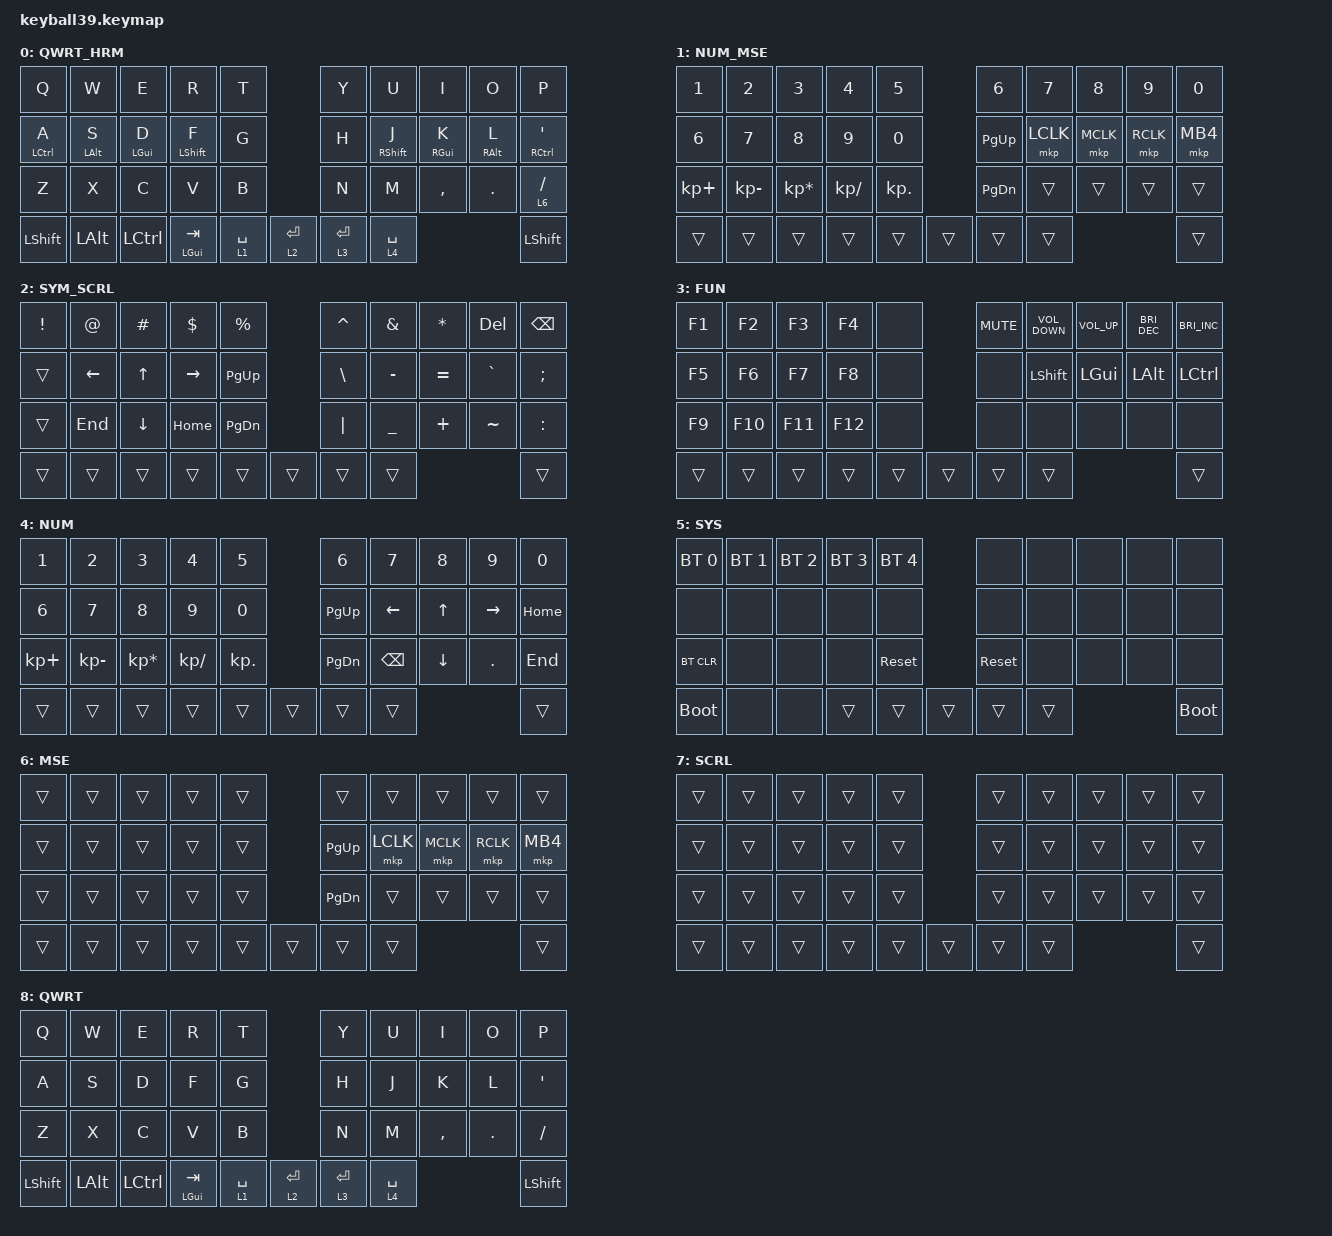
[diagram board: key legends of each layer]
#include <behaviors/mouse_keys.dtsi>
#include <dt-bindings/zmk/mouse.h>
#include <behaviors.dtsi>
#include <dt-bindings/zmk/bt.h>
#include <dt-bindings/zmk/keys.h>
#include <dt-bindings/zmk/pointing.h>

&lt {
    tapping-term-ms = <240>;
    flavor = "balanced";
    quick-tap-ms = <175>;
};

&mt {
    tapping-term-ms = <200>;
    flavor = "tap-preferred";
    quick-tap-ms = <150>;
};

&caps_word { continue-list = <UNDERSCORE MINUS>; };

/ {
    // custom shift using mod-morph 

    combos {
        compatible = "zmk,combos";

        par_l {
            bindings = <&kp LEFT_PARENTHESIS>;
            key-positions = <13 14>;
            layers = <0>;
        };

        par_r {
            bindings = <&kp RIGHT_PARENTHESIS>;
            key-positions = <15 16>;
            layers = <0>;
        };

        bkt_l {
            bindings = <&kp LEFT_BRACKET>;
            key-positions = <3 4>;
            layers = <0>;
        };

        bkt_r {
            bindings = <&kp RIGHT_BRACKET>;
            key-positions = <5 6>;
            layers = <0>;
        };

        brc_l {
            bindings = <&kp LEFT_BRACE>;
            key-positions = <23 24>;
            layers = <0>;
        };

        brc_r {
            bindings = <&kp RIGHT_BRACE>;
            key-positions = <26 25>;
            layers = <0>;
        };

        esc {
            bindings = <&kp ESC>;
            key-positions = <0 1>;
            layers = <0 1 2 3 4 6 7>;
        };

        del_l {
            bindings = <&kp DELETE>;
            key-positions = <20 21>;
            layers = <0 1 2 4 6 7>;
        };

        del_r {
            bindings = <&kp DELETE>;
            key-positions = <29 28>;
            layers = <0 1 2 4 6 7>;
        };

        toggle-hrm {
            bindings = <&tog 8>;
            key-positions = <33 34 35>;
        };
    };

    behaviors {
        hml: homerow_mods_left {
            compatible = "zmk,behavior-hold-tap";
            label = "homerow_mods_left";
            bindings = <&kp>, <&kp>;

            #binding-cells = <2>;
            tapping-term-ms = <280>;
            hold-trigger-on-release;
            quick-tap-ms = <175>;
            require-prior-idle-ms = <150>;
            flavor = "balanced";
            hold-trigger-key-positions = <14 24 23 22 21 20 0 1 2 3 4 5 6 7 8 9 15 16 17 18 19 25 26 27 28 29>;
        };

        hmr: homerow_mods_right {
            compatible = "zmk,behavior-hold-tap";
            label = "homerow_mods_right";
            bindings = <&kp>, <&kp>;

            #binding-cells = <2>;
            tapping-term-ms = <280>;
            flavor = "balanced";
            hold-trigger-on-release;
            quick-tap-ms = <175>;
            require-prior-idle-ms = <150>;
            hold-trigger-key-positions = <15 5 6 7 8 9 29 28 27 26 25 0 1 2 3 4 10 11 12 13 14 20 21 22 23 24>;
        };
    };

    keymap {
        compatible = "zmk,keymap";

        qwrt_hrm {
            label = "QWRT_HRM";
            bindings = <
&kp Q                &kp W            &kp E             &kp R              &kp T                                  &kp Y        &kp U               &kp I             &kp O             &kp P
&hml LEFT_CONTROL A  &hml LEFT_ALT S  &hml LEFT_GUI D   &hml LEFT_SHIFT F  &kp G                                  &kp H        &hmr RIGHT_SHIFT J  &hmr RIGHT_GUI K  &hmr RIGHT_ALT L  &hmr RIGHT_CONTROL SQT
&kp Z                &kp X            &kp C             &kp V              &kp B                                  &kp N        &kp M               &kp COMMA         &kp DOT           &lt 6 SLASH
&kp LEFT_SHIFT       &kp LEFT_ALT     &kp LEFT_CONTROL  &mt LEFT_GUI TAB   &lt 1 SPACE  &lt 2 ENTER  &lt 3 ENTER  &lt 4 SPACE                                                          &kp LEFT_SHIFT
            >;
        };

        number_mouse {
            label = "NUM_MSE";
            bindings = <
&kp NUMBER_1  &kp NUMBER_2  &kp NUMBER_3     &kp NUMBER_4  &kp NUMBER_5                  &kp NUMBER_6  &kp NUMBER_7  &kp NUMBER_8  &kp NUMBER_9  &kp NUMBER_0
&kp NUMBER_6  &kp NUMBER_7  &kp NUMBER_8     &kp NUMBER_9  &kp NUMBER_0                  &kp PG_UP     &mkp LCLK     &mkp MCLK     &mkp RCLK     &mkp MB4
&kp KP_PLUS   &kp KP_MINUS  &kp KP_MULTIPLY  &kp KP_SLASH  &kp KP_DOT                    &kp PG_DN     &trans        &trans        &trans        &trans
&trans        &trans        &trans           &trans        &trans        &trans  &trans  &trans                                                  &trans
            >;
        };

        symbol_scroll {
            label = "SYM_SCRL";
            bindings = <
&kp EXCLAMATION  &kp AT_SIGN  &kp HASH  &kp DOLLAR  &kp PERCENT                  &kp CARET      &kp AMPERSAND  &kp ASTERISK  &kp DEL    &kp BACKSPACE
&trans           &kp LEFT     &kp UP    &kp RIGHT   &kp PG_UP                    &kp BACKSLASH  &kp MINUS      &kp EQUAL     &kp GRAVE  &kp SEMICOLON
&trans           &kp END      &kp DOWN  &kp HOME    &kp PG_DN                    &kp PIPE       &kp UNDER      &kp PLUS      &kp TILDE  &kp COLON
&trans           &trans       &trans    &trans      &trans       &trans  &trans  &trans                                                 &trans
            >;
        };

        function {
            label = "FUN";
            bindings = <
&kp F1  &kp F2   &kp F3   &kp F4   &none                   &kp K_MUTE  &kp C_VOLUME_DOWN  &kp C_VOLUME_UP  &kp C_BRIGHTNESS_DEC  &kp C_BRIGHTNESS_INC
&kp F5  &kp F6   &kp F7   &kp F8   &none                   &none       &kp LEFT_SHIFT     &kp LEFT_GUI     &kp LEFT_ALT          &kp LEFT_CONTROL
&kp F9  &kp F10  &kp F11  &kp F12  &none                   &none       &none              &none            &none                 &none
&trans  &trans   &trans   &trans   &trans  &trans  &trans  &trans                                                                &trans
            >;
        };

        number {
            label = "NUM";
            bindings = <
&kp NUMBER_1  &kp NUMBER_2  &kp NUMBER_3     &kp NUMBER_4  &kp NUMBER_5                  &kp NUMBER_6  &kp NUMBER_7   &kp NUMBER_8  &kp NUMBER_9  &kp NUMBER_0
&kp NUMBER_6  &kp NUMBER_7  &kp NUMBER_8     &kp NUMBER_9  &kp NUMBER_0                  &kp PG_UP     &kp LEFT       &kp UP        &kp RIGHT     &kp HOME
&kp KP_PLUS   &kp KP_MINUS  &kp KP_MULTIPLY  &kp KP_SLASH  &kp KP_DOT                    &kp PG_DN     &kp BACKSPACE  &kp DOWN      &kp DOT       &kp END
&trans        &trans        &trans           &trans        &trans        &trans  &trans  &trans                                                   &trans
            >;
        };

        system {
            label = "SYS";
            bindings = <
&bt BT_SEL 0  &bt BT_SEL 1  &bt BT_SEL 2  &bt BT_SEL 3  &bt BT_SEL 4                  &none       &none  &none  &none  &none
&none         &none         &none         &none         &none                         &none       &none  &none  &none  &none
&bt BT_CLR    &none         &none         &none         &sys_reset                    &sys_reset  &none  &none  &none  &none
&bootloader   &none         &none         &trans        &trans        &trans  &trans  &trans                           &bootloader
            >;
        };

        auto_mouse {
            bindings = <
&trans  &trans  &trans  &trans  &trans                  &trans     &trans     &trans     &trans     &trans
&trans  &trans  &trans  &trans  &trans                  &kp PG_UP  &mkp LCLK  &mkp MCLK  &mkp RCLK  &mkp MB4
&trans  &trans  &trans  &trans  &trans                  &kp PG_DN  &trans     &trans     &trans     &trans
&trans  &trans  &trans  &trans  &trans  &trans  &trans  &trans                                      &trans
            >;

            label = "MSE";
        };

        scroll {
            bindings = <
&trans  &trans  &trans  &trans  &trans                  &trans  &trans  &trans  &trans  &trans
&trans  &trans  &trans  &trans  &trans                  &trans  &trans  &trans  &trans  &trans
&trans  &trans  &trans  &trans  &trans                  &trans  &trans  &trans  &trans  &trans
&trans  &trans  &trans  &trans  &trans  &trans  &trans  &trans                          &trans
            >;

            label = "SCRL";
        };

        qwrt {
            label = "QWRT";
            bindings = <
&kp Q           &kp W         &kp E             &kp R             &kp T                                  &kp Y        &kp U  &kp I      &kp O    &kp P
&kp A           &kp S         &kp D             &kp F             &kp G                                  &kp H        &kp J  &kp K      &kp L    &kp SQT
&kp Z           &kp X         &kp C             &kp V             &kp B                                  &kp N        &kp M  &kp COMMA  &kp DOT  &kp SLASH
&kp LEFT_SHIFT  &kp LEFT_ALT  &kp LEFT_CONTROL  &mt LEFT_GUI TAB  &lt 1 SPACE  &lt 2 ENTER  &lt 3 ENTER  &lt 4 SPACE                             &kp LEFT_SHIFT
            >;
        };
    };

    conditional_layers {
        compatible = "zmk,conditional-layers";

        right_system {
            if-layers = <3 4>;
            then-layer = <5>;
        };

        left_system {
            if-layers = <1 2>;
            then-layer = <5>;
        };
    };
};
